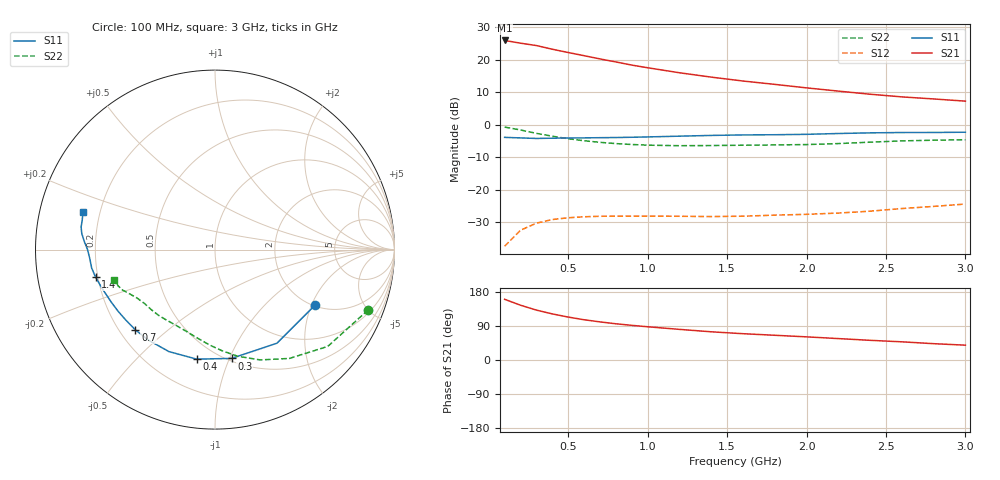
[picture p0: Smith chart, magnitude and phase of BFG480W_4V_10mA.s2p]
! Filename: 410BFG480.001
! Title: BFG480W
! Bias: Vce=4V; Ic=10mA
! Company: Philips Semiconductors NL
! User: Quality&Reliability T&D
! Measure time: 10 Nov 1999 / 12:02:13
#  MHz  S  MA  R 50
! Freq  S11  S21  S12  S22  :
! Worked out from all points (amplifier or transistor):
!   20 points, 100 MHz to 3 GHz, reference 50 ohm
!   highest |S21| = 25.9 dB at 100 MHz (marker M1)
!   |S21| within 3 dB of that: start of sweep to 430.3 MHz
!   unconditionally stable (mu >= 1): 1.674 GHz to end of sweep
!   at 400 MHz: K = 0.24, MSG = 26.2 dB, |S12| = -29.2 dB
!   at 1.2 GHz: K = 0.73, MSG = 22.1 dB, |S12| = -28.2 dB
!   at 3 GHz: K = 1.15, MAG = 13.5 dB, |S12| = -24.4 dB
!   S11 on the Smith chart (normalised r, x): 100 MHz: 2.02, -2.12; 300 MHz: 0.52, -1.02; 400 MHz: 0.39, -0.77; 700 MHz: 0.26, -0.39; 1.4 GHz: 0.19, -0.11; 3 GHz: 0.14, +0.14
100  0.6371 -29.2  19.67 160.2  0.01355 67.4  0.9169 -21.5
200  0.6254 -56.5  17.86 144.6  0.02379 56.2  0.828 -40.6
300  0.6132 -81.3  16.43 131.7  0.0306 47.3  0.7346 -55.6
400  0.6188 -99.5  14.42 121.7  0.03478 40.4  0.6642 -67.7
500  0.6235 -114.3  12.84 113.3  0.03704 35.7  0.6077 -77.9
600  0.6257 -126.0  11.48 106.2  0.03838 32.5  0.5653 -85.9
700  0.6301 -134.7  10.24 100.6  0.03903 30.6  0.5345 -92.7
800  0.6335 -141.9  9.197 95.6  0.03931 29.5  0.5113 -98.5
900  0.6396 -147.4  8.227 91.5  0.03928 29.2  0.4951 -103.8
1000  0.647 -152.7  7.487 87.7  0.03935 29.4  0.4836 -108.8
1200  0.6649 -160.9  6.272 80.8  0.03904 30.9  0.4744 -117.7
1400  0.6825 -166.9  5.374 74.4  0.03864 33.7  0.4771 -125.0
1600  0.6947 -171.5  4.681 69.4  0.03917 38.1  0.4828 -130.9
1800  0.6995 -175.9  4.157 65.2  0.04062 43.4  0.4875 -136.4
2000  0.7095 -179.9  3.673 61.1  0.04183 48.4  0.494 -142.4
2200  0.7304 176.3  3.277 56.5  0.04377 52.7  0.5116 -148.2
2400  0.7475 173.1  2.934 51.9  0.04677 56.4  0.5376 -152.9
2600  0.7564 170.4  2.669 47.9  0.05132 59.8  0.5623 -156.4
2800  0.7576 167.5  2.482 43.1  0.05539 61.5  0.5766 -159.5
3000  0.7643 164.3  2.296 39.2  0.06017 63.4  0.5861 -163.4
